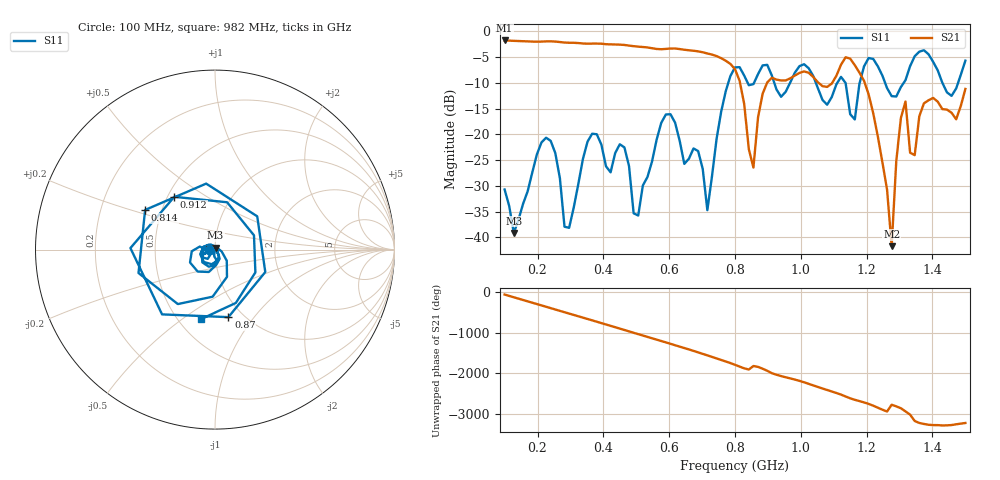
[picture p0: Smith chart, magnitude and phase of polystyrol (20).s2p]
! NanoVNA-App
! Date: 2025-09-25 15:30:03
! Start: 100MHz Stop: 1,5GHz Points: 101
! S-Parameter data: F S11 S21 S12 S22
# Hz S RI R 50
!  Frequency  S11_Real  S11_Imag  S21_Real  S21_Imag  S12_Real  S12_Imag  S22_Real  S22_Imag
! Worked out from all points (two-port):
!   101 points, 100 MHz to 1.5 GHz, reference 50 ohm
!   highest |S21| = -1.80 dB at 100 MHz (marker M1); lowest = -41.7 dB at 1.276 GHz (marker M2)
!   |S21| within 3 dB of the highest: start of sweep to 742.7 MHz
!   lowest |S11| = -39.1 dB at 128 MHz (marker M3), VSWR 1.02, Z = 50.3 + j1.06 ohm
!   |S11| at or under -10 dB: start of sweep to 779.7 MHz; 1.046 GHz to 1.111 GHz (65.45 MHz wide, 6.07 % of centre); 1.136 GHz to 1.179 GHz (43.38 MHz wide, 3.75 % of centre) (the widest 3 of 7)
!   S12 and S22 are empty: the file has one direction only
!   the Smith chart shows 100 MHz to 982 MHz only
!   S11 on the Smith chart (normalised r, x): 100 MHz: 0.94, -0.01; 814 MHz: 0.40, +0.22; 870 MHz: 0.85, -0.75; 912 MHz: 0.54, +0.37; 982 MHz: 0.64, -0.59
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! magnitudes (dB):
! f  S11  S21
! 100 MHz  -30.7  -1.8
! 128 MHz  -39.1  -1.9
! 212 MHz  -21.6  -2.0
! 282 MHz  -37.9  -2.2
! 338 MHz  -24.8  -2.4
! 464 MHz  -22.5  -2.7
! 506 MHz  -35.7  -3.0
! 576 MHz  -17.8  -3.5
! 716 MHz  -34.7  -4.3
! 800 MHz  -7.0  -7.4
! 814 MHz  -7.0  -9.6
! 856 MHz  -10.3  -26.4
! 870 MHz  -8.3  -16.7
! 912 MHz  -8.6  -9.0
! 982 MHz  -8.0  -8.6
! 1.038 GHz  -8.7  -8.9
! 1.164 GHz  -17.1  -6.6
! 1.192 GHz  -6.8  -9.6
! 1.276 GHz  -12.6  -41.7
! 1.318 GHz  -9.5  -13.6
! 1.346 GHz  -4.9  -24.0
! 1.5 GHz  -5.7  -11.2
